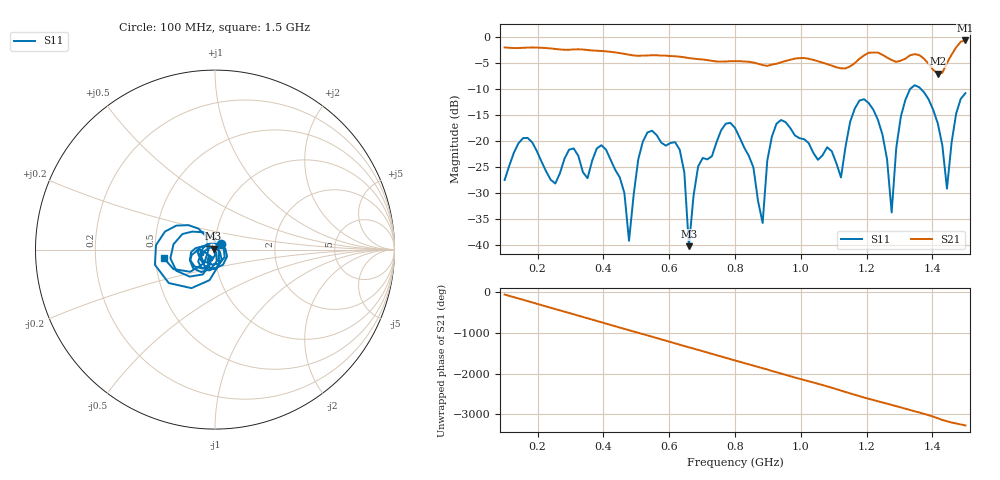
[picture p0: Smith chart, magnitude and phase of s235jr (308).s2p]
! NanoVNA-App
! Date: 2025-09-25 15:06:33
! Start: 100MHz Stop: 1,5GHz Points: 101
! S-Parameter data: F S11 S21 S12 S22
# Hz S RI R 50
!  Frequency  S11_Real  S11_Imag  S21_Real  S21_Imag  S12_Real  S12_Imag  S22_Real  S22_Imag
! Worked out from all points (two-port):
!   101 points, 100 MHz to 1.5 GHz, reference 50 ohm
!   highest |S21| = -0.63 dB at 1.5 GHz (marker M1); lowest = -7.0 dB at 1.416 GHz (marker M2)
!   |S21| within 3 dB of the highest: start of sweep to 603.3 MHz; 1.189 GHz to 1.254 GHz (64.81 MHz wide, 5.3 % of centre) (the widest 2 of 4)
!   lowest |S11| = -40.2 dB at 660 MHz (marker M3), VSWR 1.02, Z = 49.2 + j0.525 ohm
!   |S11| at or under -10 dB: start of sweep to 1.332 GHz; 1.365 GHz to end of sweep
!   S12 and S22 are empty: the file has one direction only
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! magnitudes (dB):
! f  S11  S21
! 100 MHz  -27.5  -2.0
! 156 MHz  -19.4  -2.0
! 338 MHz  -26.0  -2.4
! 408 MHz  -21.6  -2.7
! 478 MHz  -39.2  -3.4
! 520 MHz  -20.1  -3.5
! 576 MHz  -20.3  -3.5
! 632 MHz  -21.6  -3.7
! 660 MHz  -40.2  -4.0
! 688 MHz  -24.9  -4.2
! 800 MHz  -17.5  -4.6
! 884 MHz  -35.7  -5.3
! 926 MHz  -16.6  -5.1
! 1.038 GHz  -22.3  -4.4
! 1.122 GHz  -27.0  -6.0
! 1.192 GHz  -11.9  -3.5
! 1.248 GHz  -18.7  -3.4
! 1.276 GHz  -33.7  -4.4
! 1.332 GHz  -10.0  -3.5
! 1.416 GHz  -16.5  -7.0
! 1.444 GHz  -29.1  -5.0
! 1.5 GHz  -10.8  -0.6
